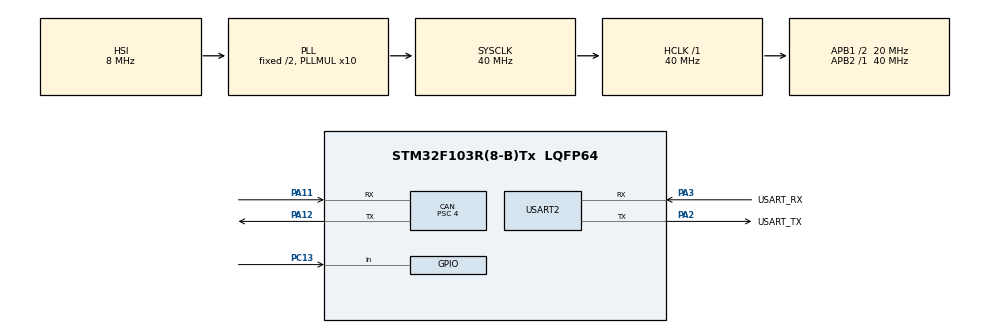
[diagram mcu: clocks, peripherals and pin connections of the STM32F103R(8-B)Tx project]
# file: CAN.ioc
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CAN.BS1=CAN_BS1_8TQ
CAN.CalculateBaudRate=500000
CAN.CalculateTimeBit=2000
CAN.CalculateTimeQuantum=200.0
CAN.NART=ENABLE
CAN.Prescaler=4
Mcu.Family=STM32F1
Mcu.Name=STM32F103R(8-B)Tx
Mcu.Package=LQFP64
NVIC.CAN1_RX1_IRQn=true\:0\:0\:false\:false\:true\:true\:true\:true
NVIC.PriorityGroup=NVIC_PRIORITYGROUP_4
NVIC.USB_HP_CAN1_TX_IRQn=true\:0\:0\:false\:false\:true\:true\:true\:true
NVIC.USB_LP_CAN1_RX0_IRQn=true\:0\:0\:false\:false\:true\:true\:true\:true
PA11.Mode=CAN_Activate
PA11.Signal=CAN_RX
PA12.Mode=CAN_Activate
PA12.Signal=CAN_TX
PA13.GPIO_Label=TMS
PA13.Mode=Serial_Wire
PA13.Signal=SYS_JTMS-SWDIO
PA14.GPIO_Label=TCK
PA14.Mode=Serial_Wire
PA14.Signal=SYS_JTCK-SWCLK
PA2.GPIO_Label=USART_TX
PA2.GPIO_Mode=GPIO_MODE_AF_PP
PA2.GPIO_PuPd=GPIO_NOPULL
PA2.GPIO_Speed=GPIO_SPEED_FREQ_LOW
PA2.Mode=Asynchronous
PA2.Signal=USART2_TX
PA3.GPIO_Label=USART_RX
PA3.GPIO_Mode=GPIO_MODE_AF_PP
PA3.GPIO_PuPd=GPIO_NOPULL
PA3.GPIO_Speed=GPIO_SPEED_FREQ_LOW
PA3.Mode=Asynchronous
PA3.Signal=USART2_RX
PB3.GPIO_Label=SWO
PB3.Signal=SYS_JTDO-TRACESWO
PC13-TAMPER-RTC.Signal=GPIO_Input
PC14-OSC32_IN.Mode=LSE-External-Oscillator
PC14-OSC32_IN.Signal=RCC_OSC32_IN
PC15-OSC32_OUT.Mode=LSE-External-Oscillator
PC15-OSC32_OUT.Signal=RCC_OSC32_OUT
PD0-OSC_IN.Mode=HSE-External-Clock-Source
PD0-OSC_IN.Signal=RCC_OSC_IN
PD1-OSC_OUT.Mode=HSE-External-Clock-Source
PD1-OSC_OUT.Signal=RCC_OSC_OUT
ProjectManager.HeapSize=0x200
ProjectManager.StackSize=0x400
ProjectManager.TargetToolchain=STM32CubeIDE
RCC.AHBFreq_Value=40000000
RCC.APB1CLKDivider=RCC_HCLK_DIV2
RCC.APB1Freq_Value=20000000
RCC.APB1TimFreq_Value=40000000
RCC.APB2Freq_Value=40000000
RCC.APB2TimFreq_Value=40000000
RCC.HCLKFreq_Value=40000000
RCC.PLLMUL=RCC_PLL_MUL10
RCC.RTCClockSelection=RCC_RTCCLKSOURCE_LSE
RCC.SYSCLKFreq_VALUE=40000000
RCC.SYSCLKSource=RCC_SYSCLKSOURCE_PLLCLK
RCC.USBFreq_Value=40000000
USART2.VirtualMode=VM_ASYNC
board=NUCLEO-F103RB

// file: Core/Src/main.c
/* USER CODE BEGIN Header */
/**
  ******************************************************************************
  * @file           : main.c
  * @brief          : Main program body
  ******************************************************************************
  * @attention
  *
  * Copyright (c) 2024 STMicroelectronics.
  * All rights reserved.
  *
  * This software is licensed under terms that can be found in the LICENSE file
  * in the root directory of this software component.
  * If no LICENSE file comes with this software, it is provided AS-IS.
  *
  ******************************************************************************
  */
/* USER CODE END Header */
#include "main.h"
#include "can.h"
#include "usart.h"
#include "gpio.h"

/* USER CODE BEGIN Includes */
#include <stdio.h>
/* USER CODE END Includes */

/* USER CODE BEGIN PM */

#ifdef __GNUC__
  /* With GCC, small printf (option LD Linker->Libraries->Small printf
     set to 'Yes') calls __io_putchar() */
  #define PUTCHAR_PROTOTYPE int __io_putchar(int ch)
#else
  #define PUTCHARPROTOTYPE int fputc(int ch, FILE *f)
#endif /* __GNUC__ */
PUTCHAR_PROTOTYPE
{
  /* Place your implementation of fputc here */
  /* e.g. write a character to the EVAL_COM1 and Loop until the end of transmission */
  HAL_UART_Transmit(&huart2, (uint8_t *)&ch, 1, 0xFF);

  return ch;
}

/* USER CODE END PM */

/* USER CODE BEGIN PV */
CAN_TxHeaderTypeDef   TxHeader;
uint8_t               TxData[8];
uint32_t              TxMailbox;
uint8_t               buttonPressed = 0;
/* USER CODE END PV */

void SystemClock_Config(void);

int main(void)
{

  /* MCU Configuration--------------------------------------------------------*/

  /* Reset of all peripherals, Initializes the Flash interface and the Systick. */
  HAL_Init();

  /* Configure the system clock */
  SystemClock_Config();

  /* Initialize all configured peripherals */
  MX_GPIO_Init();
  MX_USART2_UART_Init();
  MX_CAN_Init();
  /* USER CODE BEGIN 2 */

  printf("start!\r\n");

  /* Can Start */
  if (HAL_CAN_Start(&hcan) != HAL_OK)
  {
	  Error_Handler();
  }

  TxHeader.StdId = 0x321;
  TxHeader.ExtId = 0x01;
  TxHeader.RTR = CAN_RTR_DATA;
  TxHeader.IDE = CAN_ID_STD;
  TxHeader.DLC = 8;
  TxHeader.TransmitGlobalTime = DISABLE;

  TxData[0] = 1;
  TxData[1] = 2;
  TxData[2] = 3;
  TxData[3] = 4;
  TxData[4] = 5;
  TxData[5] = 6;
  TxData[6] = 7;
  TxData[7] = 8;

//  if (HAL_CAN_AddTxMessage(&hcan, &TxHeader, TxData, &TxMailbox) != HAL_OK)
//  {
//	  printf("Can Send Fail\r\n");
//      Error_Handler();
//  }
  printf("CAN initialized\r\n");

  /* USER CODE END 2 */

  /* Infinite loop */
  while (1)
  {
	/* Check button state */
	if (HAL_GPIO_ReadPin(GPIOC, GPIO_PIN_13) == GPIO_PIN_SET) // Button pressed (active high)
	{
		if (buttonPressed == 0) // Check if button press is new
		{
			buttonPressed = 1; // Set button pressed flag

			/* Toggle TxData[0] */
			TxData[0] ^= 0x01; // Toggle the LSB of TxData[0]

			/* Transmit CAN message */
			if (HAL_CAN_AddTxMessage(&hcan, &TxHeader, TxData, &TxMailbox) != HAL_OK)
			{
				printf("CAN Send Fail\r\n");
				Error_Handler();
			}
			else
			{
				printf("CAN Send Success: TxData[0] = 0x%02X\r\n", TxData[0]);
			}
		}
	}
	else
	{
		buttonPressed = 0; // Reset button pressed flag when button is released
	}

	HAL_Delay(10); // Debounce delay
  }
}

void SystemClock_Config(void)
{
  RCC_OscInitTypeDef RCC_OscInitStruct = {0};
  RCC_ClkInitTypeDef RCC_ClkInitStruct = {0};

  /** Initializes the RCC Oscillators according to the specified parameters
  * in the RCC_OscInitTypeDef structure.
  */
  RCC_OscInitStruct.OscillatorType = RCC_OSCILLATORTYPE_HSI;
  RCC_OscInitStruct.HSIState = RCC_HSI_ON;
  RCC_OscInitStruct.HSICalibrationValue = RCC_HSICALIBRATION_DEFAULT;
  RCC_OscInitStruct.PLL.PLLState = RCC_PLL_ON;
  RCC_OscInitStruct.PLL.PLLSource = RCC_PLLSOURCE_HSI_DIV2;
  RCC_OscInitStruct.PLL.PLLMUL = RCC_PLL_MUL10;
  if (HAL_RCC_OscConfig(&RCC_OscInitStruct) != HAL_OK)
  {
    Error_Handler();
  }

  /** Initializes the CPU, AHB and APB buses clocks
  */
  RCC_ClkInitStruct.ClockType = RCC_CLOCKTYPE_HCLK|RCC_CLOCKTYPE_SYSCLK
                              |RCC_CLOCKTYPE_PCLK1|RCC_CLOCKTYPE_PCLK2;
  RCC_ClkInitStruct.SYSCLKSource = RCC_SYSCLKSOURCE_PLLCLK;
  RCC_ClkInitStruct.AHBCLKDivider = RCC_SYSCLK_DIV1;
  RCC_ClkInitStruct.APB1CLKDivider = RCC_HCLK_DIV2;
  RCC_ClkInitStruct.APB2CLKDivider = RCC_HCLK_DIV1;

  if (HAL_RCC_ClockConfig(&RCC_ClkInitStruct, FLASH_LATENCY_1) != HAL_OK)
  {
    Error_Handler();
  }
}

void Error_Handler(void)
{
  __disable_irq();
  while (1)
  {
  }
}
